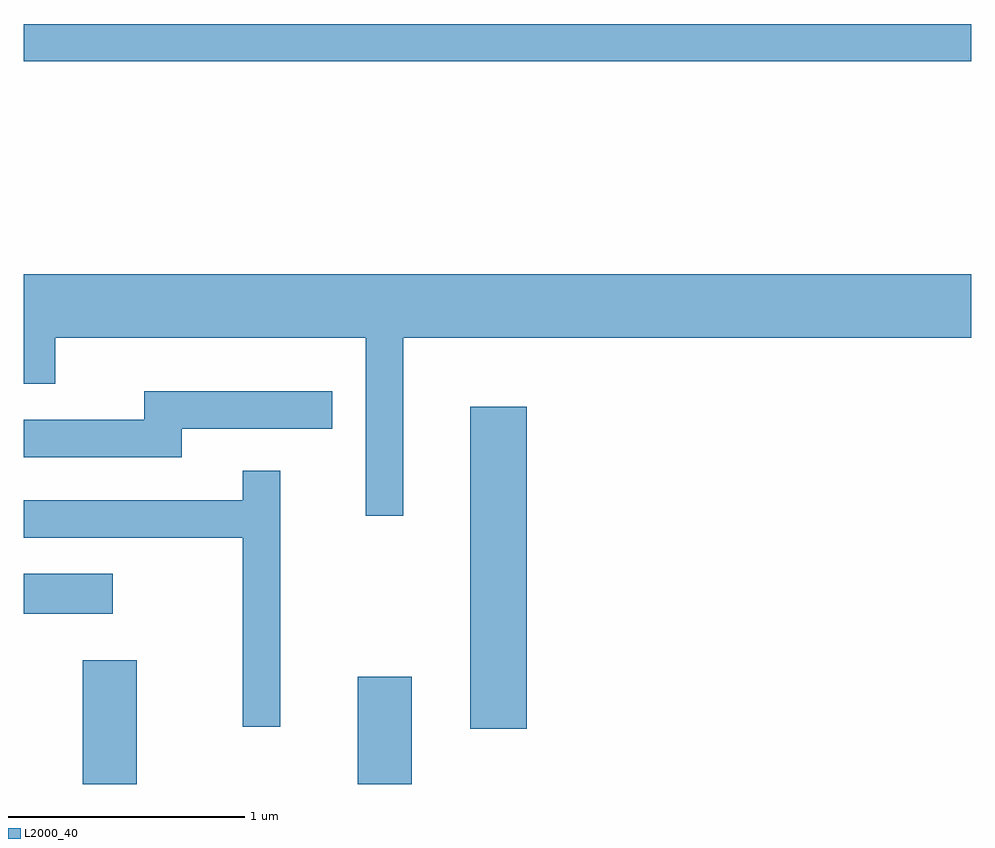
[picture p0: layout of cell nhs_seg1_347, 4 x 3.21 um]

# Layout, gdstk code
import gdstk
lib = gdstk.Library(unit=1e-6, precision=1e-09)
def R(c, l, rs):  # rectangles x0, y0, x1, y1
    for r in rs: c.add(gdstk.rectangle(r[:2], r[2:], *l))
def P(c, l, *ps):  # polygons
    for p in ps: c.add(gdstk.Polygon(p, *l))
L2000_40 = (2000, 40)

nhs_seg1_347 = lib.new_cell('nhs_seg1_347')
R(nhs_seg1_347, L2000_40, [(195.861,877.712,196.089,878.234), (197.021,877.712,197.249,878.164), (197.496,877.946,197.734,879.304), (195.611,878.431,195.988,878.599), (195.611,880.761,199.611,880.919)])
P(nhs_seg1_347, L2000_40, [(197.214,879.596),(199.611,879.596),(199.611,879.864),(195.611,879.864),(195.611,879.401),(195.744,879.401),(195.744,879.596),(197.056,879.596),(197.056,878.843),(197.214,878.843)],
  [(196.279,879.211),(196.913,879.211),(196.913,879.369),(196.121,879.369),(196.121,879.249),(195.611,879.249),(195.611,879.091),(196.279,879.091)],
  [(196.694,879.033),(196.536,879.033),(196.536,878.909),(195.611,878.909),(195.611,878.751),(196.536,878.751),(196.536,877.953),(196.694,877.953)])

lib.write_gds('nhs_seg1_347.gds')
